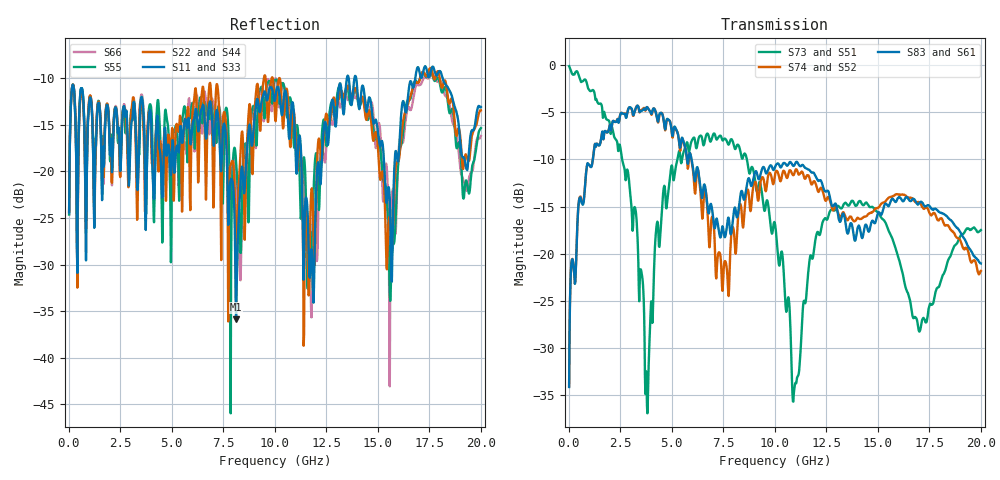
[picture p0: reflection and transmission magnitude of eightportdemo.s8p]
! File created by SignalIntegrity v1.1.10: Signal and Power Integrity Tools
! https://github.com/TeledyneLeCroy/SignalIntegrity
# MHz S MA R 50.0
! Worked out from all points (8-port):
!   1000 points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, 20 MHz to 20 GHz, reference 50 ohm
!   strongest paths, dB at 20 MHz, 5.02 GHz, 10.02 GHz, 15.02 GHz, 20 GHz:
!     S83: -34.1, -7.4, -10.8, -15.6, -21.0
!     S61: -34.1, -7.4, -10.8, -15.6, -21.0
!     S74: -34.0, -7.5, -11.5, -15.1, -21.8
!     S52: -34.0, -7.5, -11.5, -15.1, -21.8
!     S73: -0.1, -10.7, -17.0, -15.7, -17.5
!     S51: -0.1, -10.7, -17.0, -15.7, -17.5
!   lowest |S11| = -35.8 dB at 8.12 GHz (marker M1), VSWR 1.03, Z = 51.5 - j0.587 ohm
!   |S11| at or under -10 dB: start of sweep to 13.5 GHz; 13.95 GHz to 16.82 GHz (2.867 GHz wide, 18.6 % of centre); 18.15 GHz to end of sweep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
